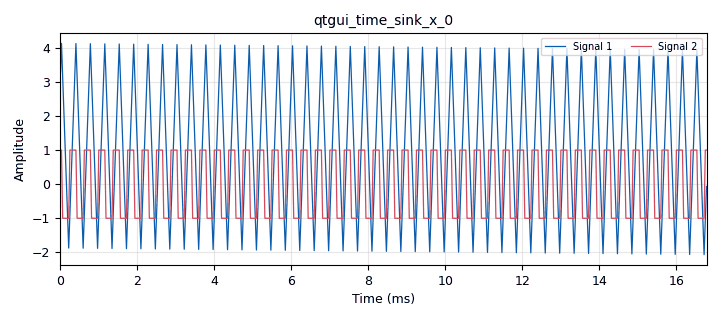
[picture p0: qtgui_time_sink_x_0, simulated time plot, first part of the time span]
options:
  parameters:
    generate_options: qt_gui
    id: untitled
    output_language: python
    title: Not titled yet
  states: {}

blocks:
- name: samp_rate
  id: variable
  parameters:
    value: '32000'
  states: {}
- name: blocks_vector_source_x_0
  id: blocks_vector_source_x
  parameters:
    repeat: 'True'
    type: float
    vector: (1,1,1,1,1,1,-1,-1,-1,-1,-1,-1)
  states: {}
- name: epy_block_1
  id: epy_block
  parameters:
    _source_code: "import numpy as np\nfrom gnuradio import gr\n\nclass blk(gr.sync_block):  \n    def __init__(self):\n        gr.sync_block.__init__(\n            self,\n            name='e_Acum',\n            in_sig=[np.float32],\n            out_sig=[np.float32]\n        )\n        \n        self.acum = 0.0\n\n    def work(self, input_items, output_items):\n        x = input_items[0]\n        y0 = output_items[0]\n\n        # quitar DC (media del bloque)\n        x_mean = np.mean(x)\n\n        for i in range(len(x)):\n            self.acum += (x[i] - x_mean)\n            y0[i] = self.acum\n\n        return len(y0)\n\n\n"
  states: {}
- name: qtgui_time_sink_x_0
  id: qtgui_time_sink_x
  parameters:
    autoscale: 'True'
    nconnections: '2'
    size: '1024'
    srate: samp_rate
    type: float
    update_time: '5'
  states: {}

connections:
- [blocks_vector_source_x_0, '0', epy_block_1, '0']
- [blocks_vector_source_x_0, '0', qtgui_time_sink_x_0, '1']
- [epy_block_1, '0', qtgui_time_sink_x_0, '0']

metadata:
  file_format: 1
  grc_version: 3.10.10.0
